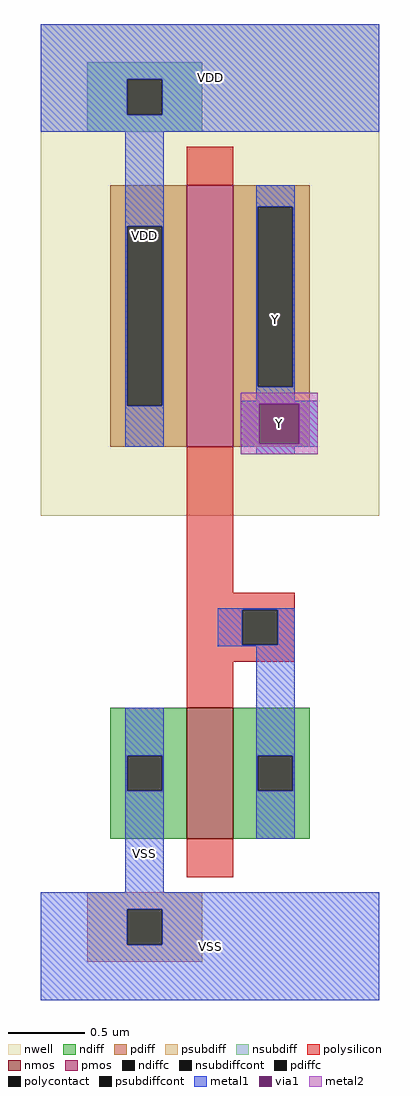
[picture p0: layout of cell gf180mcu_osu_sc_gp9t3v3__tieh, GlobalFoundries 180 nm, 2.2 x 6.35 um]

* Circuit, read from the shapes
.subckt gf180mcu_osu_sc_gp9t3v3__tieh Y VDD VSS
XM1 n1 n1 VSS VSS nfet_03v3 w=0.85u l=0.3u
XM2 Y n1 VDD VDD pfet_03v3 w=1.7u l=0.3u
.ends

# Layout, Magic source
magic
tech gf180mcuA
magscale 1 10
<< nwell >>
rect 0 630 440 1270
<< nmos >>
rect 190 210 250 380
<< pmos >>
rect 190 720 250 1060
<< ndiff >>
rect 90 318 190 380
rect 90 272 112 318
rect 158 272 190 318
rect 90 210 190 272
rect 250 318 350 380
rect 250 272 282 318
rect 328 272 350 318
rect 250 210 350 272
<< pdiff >>
rect 90 1007 190 1060
rect 90 773 112 1007
rect 158 773 190 1007
rect 90 720 190 773
rect 250 1032 350 1060
rect 250 798 282 1032
rect 328 798 350 1032
rect 250 720 350 798
<< ndiffc >>
rect 112 272 158 318
rect 282 272 328 318
<< pdiffc >>
rect 112 773 158 1007
rect 282 798 328 1032
<< psubdiff >>
rect 60 118 210 140
rect 60 72 112 118
rect 158 72 210 118
rect 60 50 210 72
<< nsubdiff >>
rect 60 1198 210 1220
rect 60 1152 112 1198
rect 158 1152 210 1198
rect 60 1130 210 1152
<< psubdiffcont >>
rect 112 72 158 118
<< nsubdiffcont >>
rect 112 1152 158 1198
<< polysilicon >>
rect 190 1060 250 1110
rect 190 530 250 720
rect 190 508 330 530
rect 190 462 262 508
rect 308 462 330 508
rect 190 440 330 462
rect 190 380 250 440
rect 190 160 250 210
<< polycontact >>
rect 262 462 308 508
<< metal1 >>
rect 0 1198 440 1270
rect 0 1152 112 1198
rect 158 1152 440 1198
rect 0 1130 440 1152
rect 110 1007 160 1130
rect 110 773 112 1007
rect 158 773 160 1007
rect 280 1032 330 1060
rect 280 798 282 1032
rect 328 798 330 1032
rect 280 780 330 798
rect 110 720 160 773
rect 260 776 360 780
rect 260 724 284 776
rect 336 724 360 776
rect 260 720 360 724
rect 280 710 330 720
rect 230 508 330 510
rect 230 462 262 508
rect 308 462 330 508
rect 230 460 330 462
rect 110 318 160 380
rect 110 272 112 318
rect 158 272 160 318
rect 110 140 160 272
rect 280 318 330 460
rect 280 272 282 318
rect 328 272 330 318
rect 280 210 330 272
rect 0 118 440 140
rect 0 72 112 118
rect 158 72 440 118
rect 0 0 440 72
<< via1 >>
rect 284 724 336 776
<< metal2 >>
rect 260 776 360 790
rect 260 724 284 776
rect 336 724 360 776
rect 260 710 360 724
<< labels >>
rlabel via1 s 284 724 336 776 4 Y
port 1 nsew signal output
rlabel metal1 s 110 720 160 1270 4 VDD
port 2 nsew power bidirectional abutment
rlabel metal1 s 110 0 160 380 4 VSS
port 3 nsew ground bidirectional abutment
rlabel metal1 s 0 1130 440 1270 1 VDD
port 2 nsew power bidirectional abutment
rlabel metal1 s 0 0 440 140 1 VSS
port 3 nsew ground bidirectional abutment
rlabel metal2 s 260 710 360 790 1 Y
port 1 nsew signal output
rlabel metal1 s 280 710 330 1060 1 Y
port 1 nsew signal output
rlabel metal1 s 260 720 360 780 1 Y
port 1 nsew signal output
<< properties >>
string FIXED_BBOX 0 0 440 1270
string GDS_END 370032
string GDS_FILE $PDKPATH/libs.ref/gf180mcu_osu_sc_gp9t3v3/gds/gf180mcu_osu_sc_gp9t3v3.gds
string GDS_START 367478
string LEFclass CORE
string LEFsite gf180mcu_osu_sc_gp9t3v3
string LEFsymmetry X Y
<< end >>
